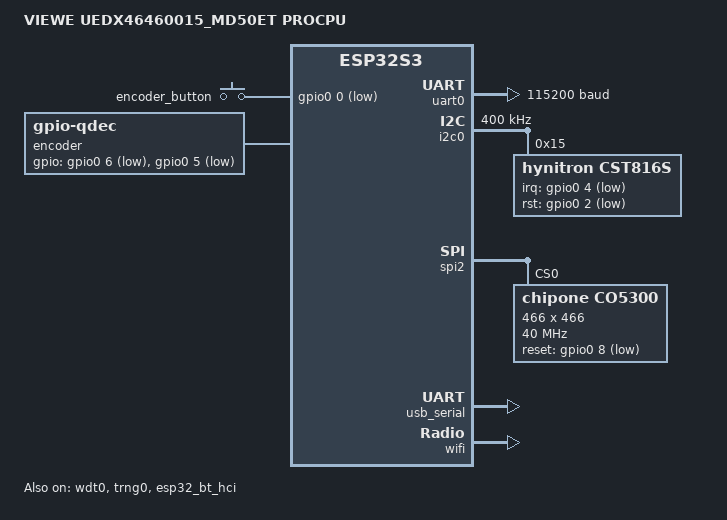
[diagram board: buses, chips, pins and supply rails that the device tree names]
/*
 * Copyright (c) 2024-2025 Espressif Systems (Shanghai) Co., Ltd.
 * Copyright (c) 2026 VIEWE Technology Co., Ltd.
 *
 * SPDX-License-Identifier: Apache-2.0
 */

/dts-v1/;

#include <zephyr/dt-bindings/display/panel.h>
#include <zephyr/dt-bindings/mipi_dbi/mipi_dbi.h>
#include <zephyr/dt-bindings/input/input-event-codes.h>
#include <zephyr/dt-bindings/input/esp32-touch-sensor-input.h>
#include <espressif/esp32s3/esp32s3_wroom_n16r8.dtsi>
#include <espressif/partitions_0x0_amp_16M.dtsi>
#include "uedx46460015_md50et-pinctrl.dtsi"

/ {
	model = "VIEWE UEDX46460015_MD50ET PROCPU";
	compatible = "viewe,uedx46460015_md50et", "espressif,esp32s3";

	chosen {
		zephyr,sram = &sram1;
		zephyr,console = &usb_serial;
		zephyr,shell-uart = &usb_serial;
		zephyr,flash = &flash0;
		zephyr,code-partition = &slot0_partition;
		zephyr,bt-hci = &esp32_bt_hci;
		zephyr,display = &co5300;
		zephyr,touch = &cst816s;
	};

	aliases {
		sw0 = &encoder_button;
		qdec0 = &encoder;
		watchdog0 = &wdt0;
	};

	keys: keys {
		compatible = "gpio-keys";
		debounce-interval-ms = <10>;

		encoder_button: encoder_button {
			gpios = <&gpio0 0 (GPIO_ACTIVE_LOW | GPIO_PULL_UP)>;
			zephyr,code = <INPUT_KEY_ENTER>;
		};
	};

	encoder: encoder {
		compatible = "gpio-qdec";
		gpios = <&gpio0 6 (GPIO_ACTIVE_LOW | GPIO_PULL_UP)>,
			<&gpio0 5 (GPIO_ACTIVE_LOW | GPIO_PULL_UP)>;
		zephyr,axis = <INPUT_REL_WHEEL>;
		steps-per-period = <4>;
		sample-time-us = <2000>;
		idle-timeout-ms = <200>;
	};

	lvgl_pointer {
		compatible = "zephyr,lvgl-pointer-input";
		input = <&cst816s>;
	};
};

&timer0 {
	status = "disabled";
};

&timer1 {
	status = "disabled";
};

&timer2 {
	status = "disabled";
};

&timer3 {
	status = "disabled";
};

&wdt0 {
	status = "okay";
};

&trng0 {
	status = "okay";
};

&gpio0 {
	status = "okay";
};

&gpio1 {
	status = "okay";
};

&uart0 {
	status = "okay";
	current-speed = <115200>;
	pinctrl-0 = <&uart0_default>;
	pinctrl-names = "default";
};

&i2c0 {
	status = "okay";
	clock-frequency = <I2C_BITRATE_FAST>;
	pinctrl-0 = <&i2c0_default>;
	pinctrl-names = "default";

	/* Hynitron CST816S Capacitive Touch Controller */
	cst816s: cst816s@15 {
		status = "okay";
		compatible = "hynitron,cst816s";
		reg = <0x15>;
		irq-gpios = <&gpio0 4 (GPIO_PULL_UP | GPIO_ACTIVE_LOW)>;
		rst-gpios = <&gpio0 2 GPIO_ACTIVE_LOW>;
	};
};

&spi2 {
	#address-cells = <1>;
	#size-cells = <0>;
	status = "okay";
	pinctrl-0 = <&spim2_default>;
	pinctrl-names = "default";

	co5300: co5300@0 {
		compatible = "chipone,co5300";
		status = "okay";
		reg = <0x0>;
		spi-max-frequency = <DT_FREQ_M(40)>;
		// backlight-gpios = <&gpio0 17 GPIO_ACTIVE_HIGH>;
		reset-gpios = <&gpio0 8 GPIO_ACTIVE_LOW>;
		pixel-format = <PANEL_PIXEL_FORMAT_RGB_565>;
		width = <466>;
		height = <466>;
		ext-ram = <&psram0>;
	};
};

&usb_serial {
	status = "okay";
};

&esp32_bt_hci {
	status = "okay";
};

&wifi {
	status = "okay";
};
